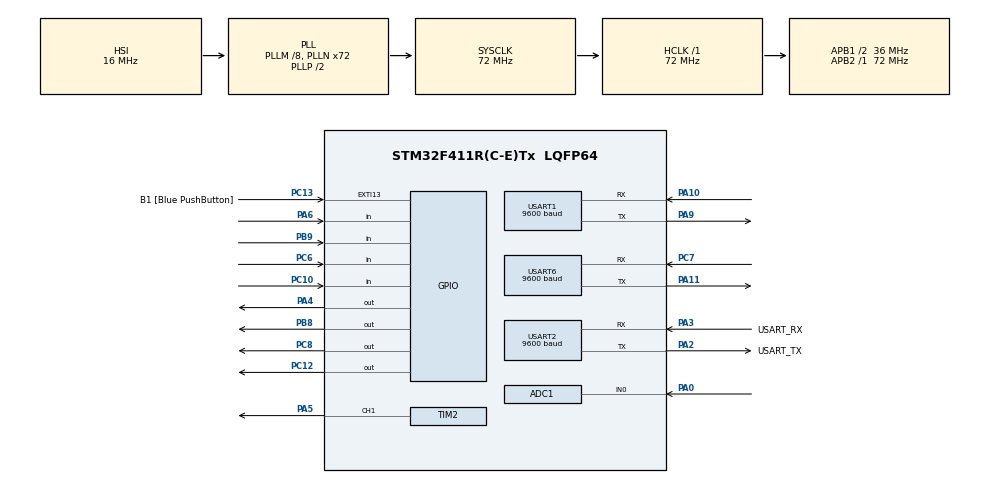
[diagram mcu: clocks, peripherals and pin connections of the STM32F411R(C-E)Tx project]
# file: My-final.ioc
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ADC1.Channel-0\#ChannelRegularConversion=ADC_CHANNEL_0
ADC1.NbrOfConversionFlag=1
ADC1.Rank-0\#ChannelRegularConversion=1
ADC1.SamplingTime-0\#ChannelRegularConversion=ADC_SAMPLETIME_3CYCLES
ADC1.master=1
Dma.Request0=USART1_RX
Dma.Request1=USART1_TX
Dma.USART1_RX.0.Direction=DMA_PERIPH_TO_MEMORY
Dma.USART1_RX.0.FIFOMode=DMA_FIFOMODE_DISABLE
Dma.USART1_RX.0.Instance=DMA2_Stream2
Dma.USART1_RX.0.MemDataAlignment=DMA_MDATAALIGN_BYTE
Dma.USART1_RX.0.MemInc=DMA_MINC_ENABLE
Dma.USART1_RX.0.Mode=DMA_NORMAL
Dma.USART1_RX.0.PeriphDataAlignment=DMA_PDATAALIGN_BYTE
Dma.USART1_RX.0.PeriphInc=DMA_PINC_DISABLE
Dma.USART1_RX.0.Priority=DMA_PRIORITY_LOW
Dma.USART1_TX.1.Direction=DMA_MEMORY_TO_PERIPH
Dma.USART1_TX.1.FIFOMode=DMA_FIFOMODE_DISABLE
Dma.USART1_TX.1.Instance=DMA2_Stream7
Dma.USART1_TX.1.MemDataAlignment=DMA_MDATAALIGN_BYTE
Dma.USART1_TX.1.MemInc=DMA_MINC_ENABLE
Dma.USART1_TX.1.Mode=DMA_NORMAL
Dma.USART1_TX.1.PeriphDataAlignment=DMA_PDATAALIGN_BYTE
Dma.USART1_TX.1.PeriphInc=DMA_PINC_DISABLE
Dma.USART1_TX.1.Priority=DMA_PRIORITY_LOW
Mcu.Family=STM32F4
Mcu.Name=STM32F411R(C-E)Tx
Mcu.Package=LQFP64
NVIC.DMA2_Stream2_IRQn=true\:0\:0\:false\:false\:true\:false\:true\:true
NVIC.DMA2_Stream7_IRQn=true\:0\:0\:false\:false\:true\:false\:true\:true
NVIC.PriorityGroup=NVIC_PRIORITYGROUP_2
NVIC.USART1_IRQn=true\:2\:0\:true\:false\:true\:true\:true\:true
NVIC.USART2_IRQn=true\:2\:0\:true\:false\:true\:true\:true\:true
NVIC.USART6_IRQn=true\:2\:0\:true\:false\:true\:true\:true\:true
PA0-WKUP.Signal=ADCx_IN0
PA10.Mode=Asynchronous
PA10.Signal=USART1_RX
PA11.Mode=Asynchronous
PA11.Signal=USART6_TX
PA13.GPIO_Label=TMS
PA13.Mode=Serial_Wire
PA13.Signal=SYS_JTMS-SWDIO
PA14.GPIO_Label=TCK
PA14.Mode=Serial_Wire
PA14.Signal=SYS_JTCK-SWCLK
PA2.GPIO_Label=USART_TX
PA2.Mode=Asynchronous
PA2.Signal=USART2_TX
PA3.GPIO_Label=USART_RX
PA3.Mode=Asynchronous
PA3.Signal=USART2_RX
PA4.Signal=GPIO_Output
PA5.Signal=S_TIM2_CH1_ETR
PA6.Signal=GPIO_Input
PA9.Mode=Asynchronous
PA9.Signal=USART1_TX
PB3.GPIO_Label=SWO
PB3.Signal=SYS_JTDO-SWO
PB8.Signal=GPIO_Output
PB9.Signal=GPIO_Input
PC10.Signal=GPIO_Input
PC12.Signal=GPIO_Output
PC13-ANTI_TAMP.GPIO_Label=B1 [Blue PushButton]
PC13-ANTI_TAMP.GPIO_ModeDefaultEXTI=GPIO_MODE_IT_FALLING
PC13-ANTI_TAMP.Signal=GPXTI13
PC14-OSC32_IN.Mode=LSE-External-Oscillator
PC14-OSC32_IN.Signal=RCC_OSC32_IN
PC15-OSC32_OUT.Mode=LSE-External-Oscillator
PC15-OSC32_OUT.Signal=RCC_OSC32_OUT
PC6.Signal=GPIO_Input
PC7.Mode=Asynchronous
PC7.Signal=USART6_RX
PC8.Signal=GPIO_Output
PH0\ -\ OSC_IN.Mode=HSE-External-Clock-Source
PH0\ -\ OSC_IN.Signal=RCC_OSC_IN
PH1\ -\ OSC_OUT.Mode=HSE-External-Clock-Source
PH1\ -\ OSC_OUT.Signal=RCC_OSC_OUT
ProjectManager.HeapSize=0x200
ProjectManager.StackSize=0x400
ProjectManager.TargetToolchain=STM32CubeIDE
RCC.48MHZClocksFreq_Value=36000000
RCC.AHBFreq_Value=72000000
RCC.APB1CLKDivider=RCC_HCLK_DIV2
RCC.APB1Freq_Value=36000000
RCC.APB1TimFreq_Value=72000000
RCC.APB2Freq_Value=72000000
RCC.APB2TimFreq_Value=72000000
RCC.CortexFreq_Value=72000000
RCC.FLatency-AdvancedSettings=FLASH_LATENCY_2
RCC.HCLKFreq_Value=72000000
RCC.HSE_VALUE=8000000
RCC.HSI_VALUE=16000000
RCC.PLLM=8
RCC.PLLN=72
RCC.SYSCLKFreq_VALUE=72000000
RCC.SYSCLKSource=RCC_SYSCLKSOURCE_PLLCLK
RCC.VCOOutputFreq_Value=144000000
SH.ADCx_IN0.0=ADC1_IN0,IN0
SH.S_TIM2_CH1_ETR.0=TIM2_CH1,PWM Generation1 CH1
TIM1.Prescaler=72-1
TIM2.Channel-PWM\ Generation1\ CH1=TIM_CHANNEL_1
TIM2.Period=20000-1
TIM2.Prescaler=72-1
USART1.BaudRate=9600
USART1.VirtualMode=VM_ASYNC
USART2.BaudRate=9600
USART2.VirtualMode=VM_ASYNC
USART6.BaudRate=9600
USART6.VirtualMode=VM_ASYNC
VP_TIM1_VS_ClockSourceINT.Mode=Internal
VP_TIM2_VS_ClockSourceINT.Mode=Internal
board=NUCLEO-F411RE

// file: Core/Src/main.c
/* USER CODE BEGIN Header */
/**
  ******************************************************************************
  * @file           : main.c
  * @brief          : Main program body
  ******************************************************************************
  * @attention
  *
  * Copyright (c) 2023 STMicroelectronics.
  * All rights reserved.
  *
  * This software is licensed under terms that can be found in the LICENSE file
  * in the root directory of this software component.
  * If no LICENSE file comes with this software, it is provided AS-IS.
  *
  ******************************************************************************
  */
/* USER CODE END Header */
#include "main.h"

ADC_HandleTypeDef hadc1;

TIM_HandleTypeDef htim1;
TIM_HandleTypeDef htim2;

UART_HandleTypeDef huart1;
UART_HandleTypeDef huart2;
UART_HandleTypeDef huart6;
DMA_HandleTypeDef hdma_usart1_rx;
DMA_HandleTypeDef hdma_usart1_tx;

/* USER CODE BEGIN PV */
#define TRIG_PIN GPIO_PIN_12
#define TRIG_PORT GPIOC
#define ECHO_PIN GPIO_PIN_10
#define ECHO_PORT GPIOC

//#define DT_PIN GPIO_PIN_6
//#define DT_PORT GPIOA
//#define SCK_PIN GPIO_PIN_4
//#define SCK_PORT GPIOA

#define DT_PIN GPIO_PIN_9
#define DT_PORT GPIOB
#define SCK_PIN GPIO_PIN_8
#define SCK_PORT GPIOB
uint32_t pMillis;
uint32_t Value1 = 0;
uint32_t Value2 = 0;
uint16_t Distance  = 0;
/* USER CODE END PV */

void SystemClock_Config(void);
static void MX_GPIO_Init(void);
static void MX_DMA_Init(void);
static void MX_USART2_UART_Init(void);
static void MX_USART1_UART_Init(void);
static void MX_TIM2_Init(void);
static void MX_ADC1_Init(void);
static void MX_TIM1_Init(void);
static void MX_USART6_UART_Init(void);

/* USER CODE BEGIN 0 */
int readVal;
int32_t hx711_value;
static uint8_t GAIN;	//Gain for clock cycles.

void delay_us (uint16_t us) //delay function
{
__HAL_TIM_SET_COUNTER(&htim1,0);  // setting the delay counter to 0.
while (__HAL_TIM_GET_COUNTER(&htim1) < us);  // while loop till the counter reaches the delay given (us).
}

void hx711_powerUp(void) //Power up function
{
	HAL_GPIO_WritePin(SCK_PORT, SCK_PIN, GPIO_PIN_RESET); //writing to the pin and setting it to 0.
}
void hx711_setGain(uint8_t gain)  //the values should be 32, 64 or 128
{
	if(gain < 64) GAIN = 2; //32, channel B
	else if(gain < 128) GAIN = 3; //64, channel A
	else GAIN = 1; //128, channel A
}

void hx711_init(void) //initializes the hx711 module by calling 2 functions.
{
  hx711_setGain(128); //setting gain to 128, as this was our best result after trying with other gains.
	hx711_powerUp(); //power up the hx711 module.
}

int32_t hx711_get_value(void) //getting the weight from the module.
{
	uint32_t data = 0; //the data (weight) is firstly set to 0.
	uint8_t dout; // this is to show whether at this bit, if theres a number that should be recorded.
	int32_t filler; //to fill the rest of the 32 bits.
	int32_t ret_value; //final value to return after adding the filling and the data6 together.

	for (uint8_t i = 0; i < 24; i++) //read 24 bit data + set gain and start next conversion
	{

		HAL_GPIO_WritePin(SCK_PORT, SCK_PIN, GPIO_PIN_SET); //set the clock pin to 1.
		delay_us(1); //delay
			dout = HAL_GPIO_ReadPin(DT_PORT,DT_PIN); //read from the dout pin in variable dout.
			data = data << 1; //shift the data by 1 to make sure we are in correct position depending on the counter.
			if (dout) //if this bit has an output (value of 1) .
			{
				data++; //it sets the data value at this position as 1 as well.
			}
		HAL_GPIO_WritePin(SCK_PORT, SCK_PIN, GPIO_PIN_RESET); //set clock pin to 0.
		delay_us(1); //delay
	}

	for( int i = 0; i < GAIN; i ++ ) //this for loop is for the gain, to add more clock cycles based on the gain.
	{
		HAL_GPIO_WritePin(SCK_PORT, SCK_PIN, GPIO_PIN_SET); //set clock pin to 1.
		delay_us(1); //delay
		HAL_GPIO_WritePin(SCK_PORT, SCK_PIN, GPIO_PIN_RESET); //set clock pin to 0.
		delay_us(1); //delay, here we are making a clock cycle.
	}

	if( data & 0x800000 ) //here we are checking if theres values in the 24 bits by anding.
		filler = 0xFF000000; //if there are values we add 1's to the last 8 bits which are needed as this is a 32-bit adc.
	else
		filler = 0x00000000; //however, if nothing is in the data we just add 0's.

	ret_value = filler + data; //the return value is the addition of the data with the filler to have the 32-bits.
	return ret_value; //returning the value to be printed.
}

uint8_t hx711_is_ready(void) //making sure that the HX711 module is ready
{
	return HAL_GPIO_ReadPin(DT_PORT,DT_PIN) == GPIO_PIN_RESET; //reading a value from it, the reseting it.
}

uint8_t rxBuffer[1];
void HAL_UART_RxCpltCallback(UART_HandleTypeDef *huart) {
		HAL_UART_Transmit(&huart2, rxBuffer, sizeof(rxBuffer),1000);

        //rxDataAvailable = 1;
        //HAL_GPIO_TogglePin(GPIOA, GPIO_PIN_5);
        HAL_UART_Receive_IT(&huart6, rxBuffer, sizeof(rxBuffer));

}

void HAL_UART_TxCpltCallback(UART_HandleTypeDef *huart) {

        //txDataSent = 1;

}
/* USER CODE END 0 */

int main(void)
{
  /* USER CODE BEGIN 1 */
	//HAL_Delay(5000);
  /* USER CODE END 1 */

  /* MCU Configuration--------------------------------------------------------*/

  /* Reset of all peripherals, Initializes the Flash interface and the Systick. */
  HAL_Init();

  /* Configure the system clock */
  SystemClock_Config();

  /* Initialize all configured peripherals */
  MX_GPIO_Init();
  MX_DMA_Init();
  MX_USART2_UART_Init();
  MX_USART1_UART_Init();
  MX_TIM2_Init();
  MX_ADC1_Init();
  MX_TIM1_Init();
  MX_USART6_UART_Init();
  /* USER CODE BEGIN 2 */
  HAL_TIM_Base_Start(&htim1);
   HAL_UART_Receive_IT(&huart6, rxBuffer, 1);
   HAL_TIM_PWM_Start(&htim2, TIM_CHANNEL_1);
   HAL_Delay(500);
   TIM2->CCR1 =1500;

   uint8_t buffer[8];

    int count=0;

    int check=0;
    hx711_init();

  /* USER CODE END 2 */

  /* Infinite loop */
  /* USER CODE BEGIN WHILE */
  while (1)
  {

	  if(check==1){
		 //uint8_t sends[1]="M";
		 uint8_t sends[16]="METAL-detected\r\n";
		 HAL_UART_Transmit_IT(&huart6, sends, sizeof(sends));
		 HAL_Delay(100);
		 check=0;

	  }
	  if(check==2){
		  //uint8_t sends[1]="P";
		  uint8_t sends[18]="PLASTIC-detected\r\n";
		  HAL_UART_Transmit_IT(&huart6, sends, sizeof(sends));
		  HAL_Delay(100);
		  check=0;
	  }
	  if(check==3){

	  }

		  if( hx711_is_ready()) //if the HX711 module is ready.
			  {
			 // HAL_UART_Transmit(&huart2, "ready", 5, HAL_MAX_DELAY);
			  hx711_value = hx711_get_value()/900-267; //we store the value coming from the get value function.
		 //	  printf("Weight: %d g \n\r", (((hx711_value)/1000)+263)); //printing the weight after we calibrated it manually.
			  }

	 	  if (hx711_value >= 11){
	 		 //HAL_UART_Transmit(&huart2, "yes", 3, HAL_MAX_DELAY);
	 		  HAL_ADC_Start(&hadc1);
	 	  	  	if(HAL_ADC_PollForConversion(&hadc1,1000)==HAL_OK){
	 	  	  		readVal=HAL_ADC_GetValue(&hadc1);
	 	  	  		int i=0;
	 	  	  		while(i<5){

	 	  	  			HAL_ADC_Start(&hadc1);
	 	  	  			 if(HAL_ADC_PollForConversion(&hadc1,1000)==HAL_OK){
	 	  	  				 if(HAL_ADC_GetValue(&hadc1)<readVal){
	 	  	  					readVal=HAL_ADC_GetValue(&hadc1);
	 	  	  				 }
//	 	  	  				sprintf(buffer,"%hu\r\n",readVal);
//	 	  	  				HAL_UART_Transmit(&huart2, buffer, sizeof(buffer), HAL_MAX_DELAY);
	 	  	  			  	  i++;
	 	  	  			  	  HAL_Delay(50);
	 	  	  			 }
	 	  	  		}
	 	  	  		if(readVal<2000){
	 	  	  			HAL_Delay(500);
	 	  	  			TIM2->CCR1 = 1000; //500 is 0
	 //	  	  			HAL_GPIO_WritePin(GPIOA, GPIO_PIN_5,GPIO_PIN_SET);
	 	  	  			check=1;

	 	  	  		}
	 	  	  		else{
	 	  	  			HAL_Delay(500);
	 	  	  			TIM2->CCR1 = 2000;
	 	  	  			check=2;
	 	  	  		}
	 	  	  		sprintf(buffer,"%hu\r\n",readVal);
	 	  	  		HAL_UART_Transmit(&huart2, buffer, sizeof(buffer), HAL_MAX_DELAY);
	 	  	  	}
	 	  	  HAL_Delay(1500);
	 	  	  TIM2->CCR1 = 1500;

	 	  }
	 	// HAL_UART_Transmit(&huart2, "no", 2, HAL_MAX_DELAY);

	 	  //ADC TEST
//	 	 HAL_ADC_Start(&hadc1);
//		if(HAL_ADC_PollForConversion(&hadc1,1000)==HAL_OK){
//			readVal=HAL_ADC_GetValue(&hadc1);
//			sprintf(buffer,"%hu\r\n",readVal);
//			HAL_UART_Transmit(&huart2, buffer, sizeof(buffer), HAL_MAX_DELAY);
//		}

	 	  //ultrasonic
	 	 HAL_GPIO_WritePin(TRIG_PORT, TRIG_PIN, GPIO_PIN_SET);  // pull the TRIG pin HIGH
		  __HAL_TIM_SET_COUNTER(&htim1, 0);
		  while (__HAL_TIM_GET_COUNTER (&htim1) < 10);  // wait for 10 us
		  HAL_GPIO_WritePin(TRIG_PORT, TRIG_PIN, GPIO_PIN_RESET);  // pull the TRIG pin low

		  pMillis = HAL_GetTick(); // used this to avoid infinite while loop  (for timeout)
		  // wait for the echo pin to go high
		  while (!(HAL_GPIO_ReadPin (ECHO_PORT, ECHO_PIN)) && pMillis + 10 >  HAL_GetTick());
		  Value1 = __HAL_TIM_GET_COUNTER (&htim1);

		  pMillis = HAL_GetTick(); // used this to avoid infinite while loop (for timeout)
		  // wait for the echo pin to go low
		  while ((HAL_GPIO_ReadPin (ECHO_PORT, ECHO_PIN)) && pMillis + 50 > HAL_GetTick());
		  Value2 = __HAL_TIM_GET_COUNTER (&htim1);

		  Distance = (Value2-Value1)* 0.034/2;
		  HAL_Delay(50);
		  if(Distance>20){
			  count=0;
		  }
		  else{
			  count++;
		  }

		  if(count>=5){
			 uint8_t sendt[6]="FULL\r\n";
			  HAL_UART_Transmit_IT(&huart6, sendt, sizeof(sendt));
			  HAL_Delay(100);
			  count=0;
		  }
		  //HAL_GPIO_TogglePin(GPIOA, GPIO_PIN_5)

		  HAL_Delay(500);
    /* USER CODE END WHILE */

  }
}

void SystemClock_Config(void)
{
  RCC_OscInitTypeDef RCC_OscInitStruct = {0};
  RCC_ClkInitTypeDef RCC_ClkInitStruct = {0};

  /** Configure the main internal regulator output voltage
  */
  __HAL_RCC_PWR_CLK_ENABLE();
  __HAL_PWR_VOLTAGESCALING_CONFIG(PWR_REGULATOR_VOLTAGE_SCALE1);

  /** Initializes the RCC Oscillators according to the specified parameters
  * in the RCC_OscInitTypeDef structure.
  */
  RCC_OscInitStruct.OscillatorType = RCC_OSCILLATORTYPE_HSI;
  RCC_OscInitStruct.HSIState = RCC_HSI_ON;
  RCC_OscInitStruct.HSICalibrationValue = RCC_HSICALIBRATION_DEFAULT;
  RCC_OscInitStruct.PLL.PLLState = RCC_PLL_ON;
  RCC_OscInitStruct.PLL.PLLSource = RCC_PLLSOURCE_HSI;
  RCC_OscInitStruct.PLL.PLLM = 8;
  RCC_OscInitStruct.PLL.PLLN = 72;
  RCC_OscInitStruct.PLL.PLLP = RCC_PLLP_DIV2;
  RCC_OscInitStruct.PLL.PLLQ = 4;
  if (HAL_RCC_OscConfig(&RCC_OscInitStruct) != HAL_OK)
  {
    Error_Handler();
  }

  /** Initializes the CPU, AHB and APB buses clocks
  */
  RCC_ClkInitStruct.ClockType = RCC_CLOCKTYPE_HCLK|RCC_CLOCKTYPE_SYSCLK
                              |RCC_CLOCKTYPE_PCLK1|RCC_CLOCKTYPE_PCLK2;
  RCC_ClkInitStruct.SYSCLKSource = RCC_SYSCLKSOURCE_PLLCLK;
  RCC_ClkInitStruct.AHBCLKDivider = RCC_SYSCLK_DIV1;
  RCC_ClkInitStruct.APB1CLKDivider = RCC_HCLK_DIV2;
  RCC_ClkInitStruct.APB2CLKDivider = RCC_HCLK_DIV1;

  if (HAL_RCC_ClockConfig(&RCC_ClkInitStruct, FLASH_LATENCY_2) != HAL_OK)
  {
    Error_Handler();
  }
}

static void MX_ADC1_Init(void)
{

  ADC_ChannelConfTypeDef sConfig = {0};

  /** Configure the global features of the ADC (Clock, Resolution, Data Alignment and number of conversion)
  */
  hadc1.Instance = ADC1;
  hadc1.Init.ClockPrescaler = ADC_CLOCK_SYNC_PCLK_DIV2;
  hadc1.Init.Resolution = ADC_RESOLUTION_12B;
  hadc1.Init.ScanConvMode = DISABLE;
  hadc1.Init.ContinuousConvMode = DISABLE;
  hadc1.Init.DiscontinuousConvMode = DISABLE;
  hadc1.Init.ExternalTrigConvEdge = ADC_EXTERNALTRIGCONVEDGE_NONE;
  hadc1.Init.ExternalTrigConv = ADC_SOFTWARE_START;
  hadc1.Init.DataAlign = ADC_DATAALIGN_RIGHT;
  hadc1.Init.NbrOfConversion = 1;
  hadc1.Init.DMAContinuousRequests = DISABLE;
  hadc1.Init.EOCSelection = ADC_EOC_SINGLE_CONV;
  if (HAL_ADC_Init(&hadc1) != HAL_OK)
  {
    Error_Handler();
  }

  /** Configure for the selected ADC regular channel its corresponding rank in the sequencer and its sample time.
  */
  sConfig.Channel = ADC_CHANNEL_0;
  sConfig.Rank = 1;
  sConfig.SamplingTime = ADC_SAMPLETIME_3CYCLES;
  if (HAL_ADC_ConfigChannel(&hadc1, &sConfig) != HAL_OK)
  {
    Error_Handler();
  }

}

static void MX_TIM1_Init(void)
{

  TIM_ClockConfigTypeDef sClockSourceConfig = {0};
  TIM_MasterConfigTypeDef sMasterConfig = {0};

  htim1.Instance = TIM1;
  htim1.Init.Prescaler = 72-1;
  htim1.Init.CounterMode = TIM_COUNTERMODE_UP;
  htim1.Init.Period = 65535;
  htim1.Init.ClockDivision = TIM_CLOCKDIVISION_DIV1;
  htim1.Init.RepetitionCounter = 0;
  htim1.Init.AutoReloadPreload = TIM_AUTORELOAD_PRELOAD_DISABLE;
  if (HAL_TIM_Base_Init(&htim1) != HAL_OK)
  {
    Error_Handler();
  }
  sClockSourceConfig.ClockSource = TIM_CLOCKSOURCE_INTERNAL;
  if (HAL_TIM_ConfigClockSource(&htim1, &sClockSourceConfig) != HAL_OK)
  {
    Error_Handler();
  }
  sMasterConfig.MasterOutputTrigger = TIM_TRGO_RESET;
  sMasterConfig.MasterSlaveMode = TIM_MASTERSLAVEMODE_DISABLE;
  if (HAL_TIMEx_MasterConfigSynchronization(&htim1, &sMasterConfig) != HAL_OK)
  {
    Error_Handler();
  }

}

static void MX_TIM2_Init(void)
{

  TIM_ClockConfigTypeDef sClockSourceConfig = {0};
  TIM_MasterConfigTypeDef sMasterConfig = {0};
  TIM_OC_InitTypeDef sConfigOC = {0};

  htim2.Instance = TIM2;
  htim2.Init.Prescaler = 72-1;
  htim2.Init.CounterMode = TIM_COUNTERMODE_UP;
  htim2.Init.Period = 20000-1;
  htim2.Init.ClockDivision = TIM_CLOCKDIVISION_DIV1;
  htim2.Init.AutoReloadPreload = TIM_AUTORELOAD_PRELOAD_DISABLE;
  if (HAL_TIM_Base_Init(&htim2) != HAL_OK)
  {
    Error_Handler();
  }
  sClockSourceConfig.ClockSource = TIM_CLOCKSOURCE_INTERNAL;
  if (HAL_TIM_ConfigClockSource(&htim2, &sClockSourceConfig) != HAL_OK)
  {
    Error_Handler();
  }
  if (HAL_TIM_PWM_Init(&htim2) != HAL_OK)
  {
    Error_Handler();
  }
  sMasterConfig.MasterOutputTrigger = TIM_TRGO_RESET;
  sMasterConfig.MasterSlaveMode = TIM_MASTERSLAVEMODE_DISABLE;
  if (HAL_TIMEx_MasterConfigSynchronization(&htim2, &sMasterConfig) != HAL_OK)
  {
    Error_Handler();
  }
  sConfigOC.OCMode = TIM_OCMODE_PWM1;
  sConfigOC.Pulse = 0;
  sConfigOC.OCPolarity = TIM_OCPOLARITY_HIGH;
  sConfigOC.OCFastMode = TIM_OCFAST_DISABLE;
  if (HAL_TIM_PWM_ConfigChannel(&htim2, &sConfigOC, TIM_CHANNEL_1) != HAL_OK)
  {
    Error_Handler();
  }
  HAL_TIM_MspPostInit(&htim2);

}

static void MX_USART1_UART_Init(void)
{

  huart1.Instance = USART1;
  huart1.Init.BaudRate = 9600;
  huart1.Init.WordLength = UART_WORDLENGTH_8B;
  huart1.Init.StopBits = UART_STOPBITS_1;
  huart1.Init.Parity = UART_PARITY_NONE;
  huart1.Init.Mode = UART_MODE_TX_RX;
  huart1.Init.HwFlowCtl = UART_HWCONTROL_NONE;
  huart1.Init.OverSampling = UART_OVERSAMPLING_16;
  if (HAL_UART_Init(&huart1) != HAL_OK)
  {
    Error_Handler();
  }

}

static void MX_USART2_UART_Init(void)
{

  huart2.Instance = USART2;
  huart2.Init.BaudRate = 9600;
  huart2.Init.WordLength = UART_WORDLENGTH_8B;
  huart2.Init.StopBits = UART_STOPBITS_1;
  huart2.Init.Parity = UART_PARITY_NONE;
  huart2.Init.Mode = UART_MODE_TX_RX;
  huart2.Init.HwFlowCtl = UART_HWCONTROL_NONE;
  huart2.Init.OverSampling = UART_OVERSAMPLING_16;
  if (HAL_UART_Init(&huart2) != HAL_OK)
  {
    Error_Handler();
  }

}

static void MX_USART6_UART_Init(void)
{

  huart6.Instance = USART6;
  huart6.Init.BaudRate = 9600;
  huart6.Init.WordLength = UART_WORDLENGTH_8B;
  huart6.Init.StopBits = UART_STOPBITS_1;
  huart6.Init.Parity = UART_PARITY_NONE;
  huart6.Init.Mode = UART_MODE_TX_RX;
  huart6.Init.HwFlowCtl = UART_HWCONTROL_NONE;
  huart6.Init.OverSampling = UART_OVERSAMPLING_16;
  if (HAL_UART_Init(&huart6) != HAL_OK)
  {
    Error_Handler();
  }

}

static void MX_DMA_Init(void)
{

  /* DMA controller clock enable */
  __HAL_RCC_DMA2_CLK_ENABLE();

  /* DMA interrupt init */
  /* DMA2_Stream2_IRQn interrupt configuration */
  HAL_NVIC_SetPriority(DMA2_Stream2_IRQn, 0, 0);
  HAL_NVIC_EnableIRQ(DMA2_Stream2_IRQn);
  /* DMA2_Stream7_IRQn interrupt configuration */
  HAL_NVIC_SetPriority(DMA2_Stream7_IRQn, 0, 0);
  HAL_NVIC_EnableIRQ(DMA2_Stream7_IRQn);

}

static void MX_GPIO_Init(void)
{
  GPIO_InitTypeDef GPIO_InitStruct = {0};

  /* GPIO Ports Clock Enable */
  __HAL_RCC_GPIOC_CLK_ENABLE();
  __HAL_RCC_GPIOH_CLK_ENABLE();
  __HAL_RCC_GPIOA_CLK_ENABLE();
  __HAL_RCC_GPIOB_CLK_ENABLE();

  /*Configure GPIO pin Output Level */
  HAL_GPIO_WritePin(GPIOA, GPIO_PIN_4, GPIO_PIN_RESET);

  /*Configure GPIO pin Output Level */
  HAL_GPIO_WritePin(GPIOC, GPIO_PIN_8|GPIO_PIN_12, GPIO_PIN_RESET);

  /*Configure GPIO pin Output Level */
  HAL_GPIO_WritePin(GPIOB, GPIO_PIN_8, GPIO_PIN_RESET);

  /*Configure GPIO pin : B1_Pin */
  GPIO_InitStruct.Pin = B1_Pin;
  GPIO_InitStruct.Mode = GPIO_MODE_IT_FALLING;
  GPIO_InitStruct.Pull = GPIO_NOPULL;
  HAL_GPIO_Init(B1_GPIO_Port, &GPIO_InitStruct);

  /*Configure GPIO pin : PA4 */
  GPIO_InitStruct.Pin = GPIO_PIN_4;
  GPIO_InitStruct.Mode = GPIO_MODE_OUTPUT_PP;
  GPIO_InitStruct.Pull = GPIO_NOPULL;
  GPIO_InitStruct.Speed = GPIO_SPEED_FREQ_LOW;
  HAL_GPIO_Init(GPIOA, &GPIO_InitStruct);

  /*Configure GPIO pin : PA6 */
  GPIO_InitStruct.Pin = GPIO_PIN_6;
  GPIO_InitStruct.Mode = GPIO_MODE_INPUT;
  GPIO_InitStruct.Pull = GPIO_NOPULL;
  HAL_GPIO_Init(GPIOA, &GPIO_InitStruct);

  /*Configure GPIO pins : PC6 PC10 */
  GPIO_InitStruct.Pin = GPIO_PIN_6|GPIO_PIN_10;
  GPIO_InitStruct.Mode = GPIO_MODE_INPUT;
  GPIO_InitStruct.Pull = GPIO_NOPULL;
  HAL_GPIO_Init(GPIOC, &GPIO_InitStruct);

  /*Configure GPIO pins : PC8 PC12 */
  GPIO_InitStruct.Pin = GPIO_PIN_8|GPIO_PIN_12;
  GPIO_InitStruct.Mode = GPIO_MODE_OUTPUT_PP;
  GPIO_InitStruct.Pull = GPIO_NOPULL;
  GPIO_InitStruct.Speed = GPIO_SPEED_FREQ_LOW;
  HAL_GPIO_Init(GPIOC, &GPIO_InitStruct);

  /*Configure GPIO pin : PB8 */
  GPIO_InitStruct.Pin = GPIO_PIN_8;
  GPIO_InitStruct.Mode = GPIO_MODE_OUTPUT_PP;
  GPIO_InitStruct.Pull = GPIO_NOPULL;
  GPIO_InitStruct.Speed = GPIO_SPEED_FREQ_LOW;
  HAL_GPIO_Init(GPIOB, &GPIO_InitStruct);

  /*Configure GPIO pin : PB9 */
  GPIO_InitStruct.Pin = GPIO_PIN_9;
  GPIO_InitStruct.Mode = GPIO_MODE_INPUT;
  GPIO_InitStruct.Pull = GPIO_NOPULL;
  HAL_GPIO_Init(GPIOB, &GPIO_InitStruct);

}

void Error_Handler(void)
{
  __disable_irq();
  while (1)
  {
  }
}
